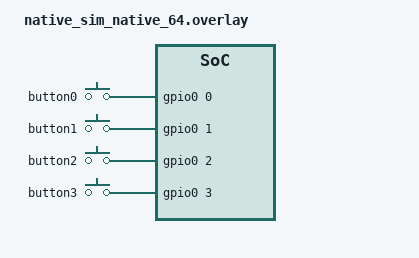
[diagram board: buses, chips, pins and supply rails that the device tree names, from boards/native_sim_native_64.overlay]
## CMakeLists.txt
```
#-------------------------------------------------------------------------------
# Zephyr Example Application
#
# Copyright (c) 2021 Nordic Semiconductor ASA
# SPDX-License-Identifier: Apache-2.0

cmake_minimum_required(VERSION 3.13.1)
find_package(Zephyr REQUIRED HINTS $ENV{ZEPHYR_BASE})

project(app LANGUAGES C)

zephyr_include_directories(src)

target_sources(app PRIVATE
  src/game_link.c
  src/main.c
  src/screens.c
  src/screens/color_dbg.c
  src/screens/touch_dbg.c)
```

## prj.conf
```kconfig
# Copyright (c) 2021 Nordic Semiconductor ASA
# SPDX-License-Identifier: Apache-2.0
#
# This file contains selected Kconfig options for the application.

CONFIG_GPIO=y
CONFIG_PWM=y
CONFIG_SMF=y

# Fancy logging.
CONFIG_CONSOLE=y
CONFIG_LOG=y
CONFIG_LOG_INFO_COLOR_GREEN=y
CONFIG_LOG_DBG_COLOR_BLUE=y
CONFIG_CBPRINTF_FP_SUPPORT=y
CONFIG_CPU_LOAD=y

# Screen things
CONFIG_DISPLAY=y
CONFIG_INPUT=y
CONFIG_LVGL=y
CONFIG_LV_Z_MEM_POOL_SIZE=32768
CONFIG_LV_Z_VDB_SIZE=10
CONFIG_LV_Z_DOUBLE_VDB=y
CONFIG_LV_Z_VDB_ALIGN=2
CONFIG_LV_BUILD_EXAMPLES=n
CONFIG_LV_BUILD_DEMOS=n
CONFIG_LV_COLOR_DEPTH_16=y
CONFIG_LV_COLOR_16_SWAP=y

# Bluetooth features
CONFIG_BT=y
CONFIG_BT_DEVICE_NAME="cave-gems-app"
# BT_APPEARANCE_PORTABLE_HANDHELD_CONSOLE
CONFIG_BT_DEVICE_APPEARANCE=2690
CONFIG_BT_CENTRAL=y
CONFIG_BT_PERIPHERAL=y
CONFIG_BT_MAX_CONN=8
CONFIG_BT_GATT_CLIENT=y
```

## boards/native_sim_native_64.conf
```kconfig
CONFIG_SDL_DISPLAY_ZOOM_PCT=200
CONFIG_DEBUG_OPTIMIZATIONS=y
CONFIG_SDL_DISPLAY_DEFAULT_PIXEL_FORMAT_RGB_565=y

# Not supported on the sim (not useful anyways)
CONFIG_CPU_LOAD=n

# Extra debug info on sim.
CONFIG_SYS_HEAP_RUNTIME_STATS=y

# Seems to be reuqired to make LVGL responsive on the sim (at least through wsl 2)
CONFIG_LV_DEF_REFR_PERIOD=16

# Using google's rootcanal to simulate BLE, which crashses and burns when host flow control is
# enabled.
CONFIG_BT_HCI_ACL_FLOW_CONTROL=n
```

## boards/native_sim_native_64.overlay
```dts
#include <zephyr/dt-bindings/gpio/gpio.h>
#include <zephyr/dt-bindings/input/input-event-codes.h>

&sdl_dc {
  height = <240>;
  width = <320>;
};

&gpio0 {
  ngpios = <4>;

  sdl_gpio {
    compatible = "zephyr,gpio-emul-sdl";
    // Number keys 1-4.
    scancodes = <30 31 32 33>;
  };
};

/ {
  buttons: buttons {
    compatible = "gpio-keys";

    button0: button0 {
      gpios = <&gpio0 0 GPIO_ACTIVE_HIGH>;
      zephyr,code = <INPUT_BTN_0>;
    };

    button1: button1 {
      gpios = <&gpio0 1 GPIO_ACTIVE_HIGH>;
      zephyr,code = <INPUT_BTN_1>;
    };

    button2: button2 {
      gpios = <&gpio0 2 GPIO_ACTIVE_HIGH>;
      zephyr,code = <INPUT_BTN_2>;
    };

    button3: button3 {
      gpios = <&gpio0 3 GPIO_ACTIVE_HIGH>;
      zephyr,code = <INPUT_BTN_3>;
    };
  };
};
```

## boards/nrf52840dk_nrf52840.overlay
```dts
#include <zephyr/dt-bindings/display/ili9xxx.h> // For pixel format.
#include <zephyr/dt-bindings/input/input-event-codes.h>

// For some reason upstream maps buttons to keys for input codes, but should
// really be buttons.


&adafruit_2_8_tft_touch_v2_ili9340 {
    /* TODO: Adjust width/height/rotation as needed. */
    pixel-format = <ILI9XXX_PIXEL_FORMAT_RGB565>;
};

&button0 {
    zephyr,code = <INPUT_BTN_0>;
};

&button1 {
    zephyr,code = <INPUT_BTN_1>;
};

&button2 {
    zephyr,code = <INPUT_BTN_2>;
};

&button3 {
    zephyr,code = <INPUT_BTN_3>;
};
```

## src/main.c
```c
/**
 * @file main.c
 */

#include <inttypes.h>

#include <lvgl.h>
#include <lvgl_mem.h>
#include <zephyr/debug/cpu_load.h>
#include <zephyr/device.h>
#include <zephyr/drivers/display.h>
#include <zephyr/kernel.h>
#include <zephyr/logging/log.h>
#include <zephyr/sys/printk.h>

#include "game_link.h"
#include "screens.h"

#define SLEEP_MS 1

#define DBG_HEAP_STATS 0

static const struct device *const disp = DEVICE_DT_GET(DISP_NODE);

LOG_MODULE_REGISTER(main);

static void link_cb(const link_evt_t *evt) {
  static int disc_ctr = 0;

  LOG_INF("link evt %d", evt->code);
  if (evt->code == LINK_EVT_DISCOVERY) {
    LOG_INF("Found room with %d players", evt->params.discovery.player_count);
    if (++disc_ctr == 20) {
      LOG_INF("Connecting...");
      game_link_join(evt->params.discovery.addr);
      disc_ctr = 0;
    }
  }
}

int main(void) {
  LOG_INF("Initializing");

  game_link_init(link_cb);
  player_name_t name = {
      .name = "JAMES",
  };
  game_link_set_name(&name);

  if (!device_is_ready(disp)) {
    LOG_ERR("Display was not ready");
    return -1;
  }

  init_screen_mgr(color_dbg_screen);

  if (0 != display_blanking_off(disp)) {
    LOG_ERR("Could not enable display");
  }

  LOG_INF("Init complete");

  size_t frame = 0;
  int64_t start_time = k_uptime_get();

  while (1) {
    update_screen_mgr();
    game_link_proc_evts();
    k_msleep(SLEEP_MS);

    frame += 1;
    int64_t now = k_uptime_get();
    if ((now - start_time) > 3000) {
      LOG_INF("Avg FPS: %0.1f", (double)(frame * 1000) / (now - start_time));
#if CONFIG_CPU_LOAD
      LOG_INF("Load: %.01f", cpu_load_get(true) / 10.0);
#endif

#if CONFIG_SYS_HEAP_RUNTIME_STATS
      // The LVGL integration doesn't fully fill out mem info when queried
      // through lv_mem_monitor :( gotta use zephyr-specific API instead.
      struct sys_memory_stats memstats;
      lvgl_heap_stats(&memstats);
      size_t total = memstats.allocated_bytes + memstats.free_bytes;
      size_t pct = (memstats.allocated_bytes * 100) / total;
      size_t max_pct = (memstats.max_allocated_bytes * 100) / total;

      LOG_INF("LVGL Heap: %zu/%zu used (%zu%%). Max %zu (%zu%%)",
              memstats.allocated_bytes, total, pct,
              memstats.max_allocated_bytes, max_pct);

#if DBG_HEAP_STATS
      lvgl_print_heap_info(false);
#endif
#endif

      start_time = now;
      frame = 0;
    }
  }
  return 0;
}
```

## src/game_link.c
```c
#include <stdlib.h>

#include <zephyr/bluetooth/bluetooth.h>
#include <zephyr/bluetooth/conn.h>
#include <zephyr/bluetooth/gatt.h>
#include <zephyr/bluetooth/uuid.h>
#include <zephyr/kernel.h>
#include <zephyr/logging/log.h>

#include "game_link.h"

LOG_MODULE_REGISTER(game_link, LOG_LEVEL_DBG);

#define HOST_IDX 0

//---- BLE ---- //

typedef enum {
  INT_EVT_SCAN_RES,
  INT_EVT_CONNECT,
  INT_EVT_DISCONNECT,
  INT_EVT_HANDLE_DISC,
  INT_EVT_MSG,
  INT_EVT_FATAL_ERR,
} internal_evt_e;

typedef struct {
  player_name_t host_name;
  uint8_t players;
} adv_service_data_t;

typedef struct {
  void *fifo_reserved;
  internal_evt_e code;
  union {
    struct {
      bt_addr_le_t addr;
      adv_service_data_t serv_data;
    } scan_res;

    struct {
      struct bt_conn *conn;
      uint8_t err;
    } connect;

    struct {
      struct bt_conn *conn;
      uint8_t reason;
    } disconnect;

    struct {
      struct bt_conn *conn;
      uint16_t handle;
    } handle_disc;

    struct {
      struct bt_conn *src;
      size_t len;
      uint8_t msg[MSG_MAX_LEN];
    } msg;

    struct {
      struct bt_conn *conn;
    } fatal_err;
  } params;
} internal_evt_t;

static bool process_advertising_field(struct bt_data *data, void *user_data);
static uint8_t service_discovery_cb(struct bt_conn *conn,
                                    const struct bt_gatt_attr *attr,
                                    struct bt_gatt_discover_params *params);

static void on_scan_result(const bt_addr_le_t *addr, int8_t rssi,
                           uint8_t adv_type, struct net_buf_simple *buf);
static void on_connected(struct bt_conn *conn, uint8_t err);
static void on_disconnected(struct bt_conn *conn, uint8_t reason);
static ssize_t on_msg_received(struct bt_conn *conn,
                               const struct bt_gatt_attr *attr, const void *buf,
                               uint16_t len, uint16_t offset, uint8_t flags);

static void send_msg(size_t idx, const void *data, size_t len);
static void send_client_hello(void);

BT_CONN_CB_DEFINE(conn_cb) = {
    .connected = on_connected,
    .disconnected = on_disconnected,
};

// Follow the example fo the BT sig, use a 96 bit base UUID and derive our UUIDs
// from that.
#define GL_UUID_VAL(val)                                                       \
  BT_UUID_128_ENCODE(0x00000000, 0x4873, 0x4a13, 0xb51b, 0x94b8fcc1d08d)

#define ADV_UUID_VAL GL_UUID_VAL(0)
static const struct bt_uuid_128 adv_uuid = BT_UUID_INIT_128(ADV_UUID_VAL);

static const struct bt_uuid_128 serv_uuid = BT_UUID_INIT_128(GL_UUID_VAL(1));
static const struct bt_uuid_128 msg_recv_uuid =
    BT_UUID_INIT_128(GL_UUID_VAL(2));

BT_GATT_SERVICE_DEFINE(
    game_link_service, BT_GATT_PRIMARY_SERVICE(&serv_uuid.uuid),
    BT_GATT_CHARACTERISTIC(&msg_recv_uuid.uuid, BT_GATT_CHRC_WRITE_WITHOUT_RESP,
                           BT_GATT_PERM_WRITE, NULL, on_msg_received, NULL));

static struct {
  struct bt_conn *conn;
  uint16_t handle;
} conns[CONFIG_BT_MAX_CONN];

//---- Messages ---- //

typedef enum {
  // Client -> Host on connection.
  MSG_CLIENT_HELLO,
  // Host -> Client after hello.
  MSG_SERVER_HELLO,
  // Host -> All clients after join. New players also get one for every existing
  // player.
  MSG_PLAYER_ANOUNCE,
  // Host -> All clients after disconnect.
  MSG_PLAYER_GONE,
  // Client -> Host -> All Clients. All messages are always broadcast to
  // everyone.
  MSG_GAME_MSG,
} msg_id_e;

typedef struct {
  uint8_t id;
  player_name_t name;
} client_hello_msg_t;

typedef struct {
  uint8_t id;
  uint8_t assigned_slot;
} server_hello_msg_t;

typedef struct {
  uint8_t id;
  uint8_t slot;
  player_name_t name;
} player_announce_msg_t;

typedef struct {
  uint8_t id;
  uint8_t slot;
} player_gone_msg_t;

typedef struct {
  uint8_t id;
  uint8_t reserved; // May be used in the future to send to specific players.
                    // Set to 0xFF.
  uint8_t data[MSG_MAX_LEN];
} game_msg_t;

//---- State Machine ---- //

typedef enum {
  LINK_OFF,
  LINK_SEARCHING,
  LINK_LOBBY,
  LINK_GAME,
} link_state_e;

typedef struct {
  void *fifo_reserved;
  link_evt_e evt;
} evt_q_item_t;

static void send_fatal_err(struct bt_conn *conn);
static void setup_msg_handle(size_t conn_idx);
static void assign_conn(struct bt_conn *conn);
static void kill_conn(struct bt_conn *conn);
static void disconnect(size_t conn_idx);
static bool handle_msg(size_t src, const void *msg, size_t len);

static game_link_cb link_cb;
static player_name_t player_name;

static bool is_host;
static link_state_e link_state;

static K_FIFO_DEFINE(internal_evts);

void game_link_init(game_link_cb cb) {
  link_cb = cb;

  if (0 != bt_enable(NULL)) {
    LOG_ERR("Could not initialize BT");
    return;
  }

  LOG_INF("BT ready");
}

void game_link_proc_evts(void) {
  internal_evt_t *evt;

  while (true) {
    evt = k_fifo_get(&internal_evts, K_NO_WAIT);
    if (evt == NULL) {
      break;
    }

    LOG_DBG("Internal evt %d", evt->code);

    switch (evt->code) {
    case INT_EVT_SCAN_RES: {
      link_evt_t out_evt = {
          .code = LINK_EVT_DISCOVERY,
          .params.discovery =
              {
                  .addr = evt->params.scan_res.addr,
                  .host_name = evt->params.scan_res.serv_data.host_name,
                  .player_count = evt->params.scan_res.serv_data.players,
              },
      };

      if (link_cb) {
        link_cb(&out_evt);
      }
    } break;

    case INT_EVT_CONNECT: {
      if (evt->params.connect.err) {
        LOG_ERR("Failed to connect: %u", evt->params.connect.err);
        kill_conn(evt->params.connect.conn);
      } else {
        if (is_host) {
          LOG_DBG("New connection");
          assign_conn(evt->params.connect.conn);
          // TODO: Restart advertising. Handle link state below as well?
        } else if (evt->params.connect.conn == conns[0].conn) {
          LOG_DBG("Connection complete");
          setup_msg_handle(0);
        }
      }

      bt_conn_unref(evt->params.connect.conn);
    } break;

    case INT_EVT_DISCONNECT: {
      LOG_DBG("Disconnect, reason=%u", evt->params.disconnect.reason);
      kill_conn(evt->params.connect.conn);
      bt_conn_unref(evt->params.disconnect.conn);
    } break;

    case INT_EVT_HANDLE_DISC: {
      bool found = false;

      for (size_t i = 0; i < ARRAY_SIZE(conns); i++) {
        if (conns[i].conn == evt->params.handle_disc.conn) {
          conns[i].handle = evt->params.handle_disc.handle;
          LOG_DBG("Found message handle for conn %zu: %u", i, conns[i].handle);

          if (!is_host) {
            send_client_hello();
          }

          found = true;
          break;
        }
      }

      if (!found) {
        LOG_WRN("Ignoring handle discovery");
      }

      bt_conn_unref(evt->params.handle_disc.conn);
    } break;

    case INT_EVT_MSG: {
      bool handled = true;

      for (size_t idx = 0; idx < ARRAY_SIZE(conns); idx++) {
        if (evt->params.msg.src == conns[idx].conn) {
          if (!handle_msg(idx, evt->params.msg.msg, evt->params.msg.len)) {
            LOG_ERR("Message handler err, disconnecting");
            disconnect(idx);
          }

          handled = true;
          break;
        }
      }

      if (!handled) {
        LOG_WRN("Message from untracked connection");
      }

      bt_conn_unref(evt->params.msg.src);
    } break;

    case INT_EVT_FATAL_ERR: {
      LOG_ERR("Fatal err, killing connection");
      kill_conn(evt->params.fatal_err.conn);
      bt_conn_unref(evt->params.fatal_err.conn);
    }
    }

    free(evt);
  }
}

void game_link_set_name(const player_name_t *name) {
  if (link_state == LINK_OFF) {
    LOG_DBG("Player name update");
    player_name = *name;
  }
}

void game_link_discover(void) {
  game_link_stop();

  static const struct bt_le_scan_param params = {
      .type = BT_LE_SCAN_TYPE_ACTIVE,
      .interval = BT_GAP_SCAN_FAST_INTERVAL_MIN,
      .window = BT_GAP_SCAN_FAST_WINDOW,
      .options = BT_LE_SCAN_OPT_NONE,
  };

  if (0 != bt_le_scan_start(&params, on_scan_result)) {
    LOG_ERR("Failed to start scan");
    return;
  }

  LOG_INF("Link discovery active");
  is_host = false;
  link_state = LINK_SEARCHING;
}

void game_link_host(void) {
  game_link_stop();

  struct bt_data adv_data[] = {
      BT_DATA(BT_DATA_NAME_COMPLETE, CONFIG_BT_DEVICE_NAME,
              sizeof(CONFIG_BT_DEVICE_NAME) - 1),
  };

  // The bumble simulator doesn't properly handle scan response data, so put the
  // parsed data in the primary adv response.
  struct {
    uint8_t uuid[128 / 8];
    adv_service_data_t serv_data;
  } serv_data = {
      .uuid = {ADV_UUID_VAL},
      .serv_data =
          {
              .host_name = player_name,
              .players = 1,
          },
  };

  struct bt_data scan_data[] = {{
      .type = BT_DATA_SVC_DATA128,
      .data = (uint8_t *)&serv_data,
      .data_len = sizeof(serv_data),
  }};

  static const struct bt_le_adv_param params = {
      .options = BT_LE_ADV_OPT_CONN | BT_LE_ADV_OPT_USE_IDENTITY |
                 BT_LE_ADV_OPT_SCANNABLE,
      .interval_min = BT_GAP_ADV_FAST_INT_MIN_2,
      .interval_max = BT_GAP_ADV_FAST_INT_MAX_2};

  if (0 != bt_le_adv_start(&params, adv_data, ARRAY_SIZE(adv_data), scan_data,
                           ARRAY_SIZE(scan_data))) {
    LOG_ERR("Failed to start advertising");
    return;
  }

  LOG_INF("Hosting lobby");
  is_host = true;
  link_state = LINK_LOBBY;
}

void game_link_join(bt_addr_le_t tgt) {
  game_link_stop();

  static const struct bt_conn_le_create_param create_params = {
      .interval = BT_GAP_SCAN_FAST_INTERVAL_MIN,
      .window = BT_GAP_SCAN_FAST_WINDOW,
  };
  static const struct bt_le_conn_param conn_params = {
      .interval_min = BT_GAP_MS_TO_CONN_INTERVAL(100),
      .interval_max = BT_GAP_MS_TO_CONN_INTERVAL(100),
      .latency = 0,
      .timeout = BT_GAP_MS_TO_CONN_TIMEOUT(20000),
  };

  int err =
      bt_conn_le_create(&tgt, &create_params, &conn_params, &conns[0].conn);
  if (err) {
    LOG_ERR("Failed to create connection: %d", err);
    return;
  }

  is_host = false;
  link_state = LINK_LOBBY;
}

void game_link_stop(void) {
  LOG_INF("Stopping existing links");

  switch (link_state) {
  case LINK_SEARCHING:
    bt_le_scan_stop();
    break;

  case LINK_LOBBY:
  case LINK_GAME:
    bt_le_adv_stop();

    for (size_t i = 0; i < ARRAY_SIZE(conns); i++) {
      disconnect(i);
    }
    break;

  case LINK_OFF:
    break;
  }

  link_state = LINK_OFF;
}

void game_link_bcast_msg(const uint8_t *data, size_t len) {
  // TODO
}

void game_link_start_game(void) {
  // TODO
}

static bool process_advertising_field(struct bt_data *data, void *user_data) {
  LOG_DBG("Fty: %u", data->type);
  if (data->type != BT_DATA_SVC_DATA128) {
    return true;
  }

  if (data->data_len < (128 / 8) + sizeof(adv_service_data_t)) {
    LOG_WRN("Invalid service data len");
    return false;
  }

  if (0 != memcmp(data->data, adv_uuid.val, sizeof(adv_uuid.val))) {
    LOG_DBG("Other service");
    return true;
  }

  LOG_DBG("Has room data");

  internal_evt_t *evt = malloc(sizeof(*evt));
  evt->code = INT_EVT_SCAN_RES;
  evt->params.scan_res.addr = *(const bt_addr_le_t *)user_data;
  memcpy(&evt->params.scan_res.serv_data, data->data + sizeof(adv_uuid.val),
         sizeof(adv_service_data_t));

  LOG_DBG("Dispatch scan res");
  k_fifo_put(&internal_evts, evt);
  return false;
}

static uint8_t service_discovery_cb(struct bt_conn *conn,
                                    const struct bt_gatt_attr *attr,
                                    struct bt_gatt_discover_params *params) {
  if (attr == NULL) {
    LOG_ERR("Discovery failed");
    send_fatal_err(conn);
  } else if (params->type == BT_GATT_DISCOVER_PRIMARY) {
    LOG_DBG("Service discovered");
    struct bt_gatt_service_val *val = attr->user_data;
    params->end_handle = val->end_handle;

    params->uuid = &msg_recv_uuid.uuid;
    params->type = BT_GATT_DISCOVER_CHARACTERISTIC;

    int err = bt_gatt_discover(conn, params);

    if (err) {
      LOG_ERR("Failed to start characteristic discovery: %d", err);
      send_fatal_err(conn);
    } else {
      // Don't free the re-used params.
      params = NULL;
    }
  } else if (params->type == BT_GATT_DISCOVER_CHARACTERISTIC) {
    LOG_DBG("Characteristic discovered");
    struct bt_gatt_chrc *val = attr->user_data;

    internal_evt_t *evt = malloc(sizeof(*evt));
    evt->code = INT_EVT_HANDLE_DISC;
    evt->params.handle_disc.conn = bt_conn_ref(conn);
    evt->params.handle_disc.handle = val->value_handle;
    k_fifo_put(&internal_evts, evt);
  }

  free(params);
  return BT_GATT_ITER_STOP;
}

static void on_scan_result(const bt_addr_le_t *addr, int8_t rssi,
                           uint8_t adv_type, struct net_buf_simple *buf) {
  LOG_DBG("Adv report");

  bt_data_parse(buf, process_advertising_field, (void *)addr);
}

static void on_connected(struct bt_conn *conn, uint8_t err) {
  internal_evt_t *evt = malloc(sizeof(*evt));
  evt->code = INT_EVT_CONNECT;
  evt->params.connect.conn = bt_conn_ref(conn);
  evt->params.connect.err = err;
  k_fifo_put(&internal_evts, evt);
}

static void on_disconnected(struct bt_conn *conn, uint8_t reason) {
  internal_evt_t *evt = malloc(sizeof(*evt));
  evt->code = INT_EVT_DISCONNECT;
  evt->params.disconnect.conn = bt_conn_ref(conn);
  evt->params.disconnect.reason = reason;
  k_fifo_put(&internal_evts, evt);
}

static ssize_t on_msg_received(struct bt_conn *conn,
                               const struct bt_gatt_attr *attr, const void *buf,
                               uint16_t len, uint16_t offset, uint8_t flags) {
  LOG_DBG("Got message");

  if (offset != 0 || len == 0) {
    return BT_GATT_ERR(BT_ATT_ERR_NOT_SUPPORTED);
  }

  if (len > MSG_MAX_LEN) {
    return BT_GATT_ERR(BT_ATT_ERR_OUT_OF_RANGE);
  }

  internal_evt_t *evt = malloc(sizeof(*evt));
  evt->code = INT_EVT_MSG;
  evt->params.msg.src = bt_conn_ref(conn);
  evt->params.msg.len = len;
  memcpy(evt->params.msg.msg, buf, len);

  k_fifo_put(&internal_evts, evt);

  return len;
}

static void send_msg(size_t idx, const void *msg, size_t msg_len) {
  if (conns[idx].conn == NULL || conns[idx].handle == 0) {
    LOG_WRN("Message dropped due to missing connection");
    return;
  }

  LOG_DBG("Queue msg %u for %zu", *(const uint8_t *)msg, idx);

  // TODO: Use local message queueing. Or just make sure there's enough buffers.
  int err = bt_gatt_write_without_response(conns[idx].conn, conns[idx].handle,
                                           msg, msg_len, false);
  if (err) {
    LOG_ERR("Failed to send message to slot %zu, err=%d", idx, err);
    disconnect(idx);
  }
}

static void send_client_hello(void) {
  client_hello_msg_t msg = {
      .id = MSG_CLIENT_HELLO,
      .name = player_name,
  };

  LOG_DBG("Saying hello");
  send_msg(HOST_IDX, &msg, sizeof(msg));
}

static void send_fatal_err(struct bt_conn *conn) {
  internal_evt_t *evt = malloc(sizeof(*evt));
  evt->code = INT_EVT_FATAL_ERR;
  evt->params.fatal_err.conn = bt_conn_ref(conn);
  k_fifo_put(&internal_evts, evt);
}

static void setup_msg_handle(size_t conn_idx) {
  if (conns[conn_idx].handle != 0) {
    LOG_ERR("Discovery already completed!");
    return;
  }

  LOG_DBG("Starting handle discovery for %zu", conn_idx);

  struct bt_gatt_discover_params *params = calloc(1, sizeof(*params));
  params->uuid = &serv_uuid.uuid;
  params->func = service_discovery_cb;
  params->start_handle = BT_ATT_FIRST_ATTRIBUTE_HANDLE;
  params->end_handle = BT_ATT_LAST_ATTRIBUTE_HANDLE;
  params->type = BT_GATT_DISCOVER_PRIMARY;

  int err = bt_gatt_discover(conns[conn_idx].conn, params);

  if (err) {
    LOG_ERR("Failed to start service discovery: %d", err);
    free(params);
    disconnect(conn_idx);
  }
}

static void assign_conn(struct bt_conn *conn) {
  for (size_t i = 1; i < ARRAY_SIZE(conns); i++) {
    if (conns[i].conn == NULL) {
      LOG_DBG("Assigning new connection to slot %zu", i);

      conns[i].conn = bt_conn_ref(conn);
      setup_msg_handle(i);

      return;
    }
  }
}

static void kill_conn(struct bt_conn *conn) {
  for (size_t i = 0; i < ARRAY_SIZE(conns); i++) {
    if (conns[i].conn == conn) {
      disconnect(i);
      return;
    }
  }
}

static void disconnect(size_t conn_idx) {
  if (conns[conn_idx].conn == NULL) {
    return;
  }

  LOG_DBG("Disconnecting %zu", conn_idx);

  bt_conn_disconnect(conns[conn_idx].conn, BT_HCI_ERR_REMOTE_USER_TERM_CONN);
  bt_conn_unref(conns[conn_idx].conn);
  memset(&conns[conn_idx], 0, sizeof(conns[conn_idx]));
}

static bool handle_msg(size_t src, const void *msg, size_t len) {
  uint8_t id = *(const uint8_t *)msg;

  LOG_DBG("Process msg %d from %zu", id, src);

  switch (id) {
  case MSG_CLIENT_HELLO: {
    if (!is_host) {
      LOG_ERR("Got hello as client");
      return false;
    }

    if (len < sizeof(client_hello_msg_t)) {
      LOG_ERR("Truncated hello");
      return false;
    }

    const client_hello_msg_t *hello = msg;

    // TODO: Announce
    char name[NAME_MAX_LEN + 1];
    memcpy(name, &hello->name, sizeof(hello->name));
    name[NAME_MAX_LEN] = 0;
    LOG_INF("Hello from %s", name);
    return true;
  }

  default:
    LOG_WRN("Unhandled msg %d", id);
    return false;
  }

  return false;
}
```

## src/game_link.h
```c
#ifndef GAME_LINK_H
#define GAME_LINK_H

#include <zephyr/bluetooth/bluetooth.h>
#include <zephyr/net_buf.h>

#define NAME_MAX_LEN 10
#define MSG_MAX_LEN 18

typedef struct {
  char name[NAME_MAX_LEN];
} player_name_t;

typedef enum {
  LINK_EVT_DISCOVERY,
  LINK_EVT_JOIN,
  LINK_EVT_JOIN_ERR,
  LINK_EVT_PEER_JOIN,
  LINK_EVT_DISCONNECT,
  LINK_EVT_MSG,
  LINK_EVT_GAME_START,
} link_evt_e;

typedef struct {
  link_evt_e code;

  union {
    struct {
      bt_addr_le_t addr;
      player_name_t host_name;
      uint8_t player_count;
    } discovery;

    struct {
      uint8_t player_id;
    } join;

    struct {
      uint8_t player_id;
      player_name_t player_name;
    } peer_join;

    struct {
      uint8_t player_id;
    } disconnect;

    struct {
      uint8_t from_player_id;
      // Not nescessarily efficient, but simple.
      // No worries about lifetime of the data.
      uint8_t msg[MSG_MAX_LEN];
      size_t len;
    } msg;
  } params;
} link_evt_t;

typedef void (*game_link_cb)(const link_evt_t *evt);

void game_link_init(game_link_cb cb);
void game_link_proc_evts(void);

void game_link_set_name(const player_name_t *name);

void game_link_discover(void);
void game_link_host(void);
void game_link_join(bt_addr_le_t tgt);
void game_link_stop(void);

void game_link_bcast_msg(const uint8_t *data, size_t len);
void game_link_start_game(void);

#endif
```

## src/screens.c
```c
#include <lvgl.h>
#include <zephyr/input/input.h>
#include <zephyr/kernel.h>
#include <zephyr/logging/log.h>

#include "screens.h"

#define NUM_BUTTONS 4
#define LONG_PRESS_MS 1000

typedef struct {
  bool activated;
  screen_fn cb;

  struct {
    bool is_down;
    bool evt_pending;
    int64_t pressed_time;
  } buttons[NUM_BUTTONS];
} screen_info_t;

LOG_MODULE_REGISTER(screens);

static K_MUTEX_DEFINE(button_lock);
static bool button_states[NUM_BUTTONS];
static bool button_changed[NUM_BUTTONS];

static void on_button_evt(struct input_event* evt, void* user_data) {
  if (evt->type != INPUT_EV_KEY) {
    return;
  }

  if (evt->code < INPUT_BTN_0 || evt->code > INPUT_BTN_3) {
    return;
  }

  k_mutex_lock(&button_lock, K_FOREVER);
  size_t idx = evt->code - INPUT_BTN_0;
  button_states[idx] = !!evt->value;
  button_changed[idx] = true;
  k_mutex_unlock(&button_lock);
}
INPUT_CALLBACK_DEFINE(NULL, on_button_evt, NULL);

static void sync_buttons(lv_obj_t* screen, screen_info_t* info) {
  bool lcl_button_changed[NUM_BUTTONS];
  int64_t now = k_uptime_get();

  // Atomically snapshot the state. Ensures consistency while we send events
  // without requiring the lock to be held for a long time.
  k_mutex_lock(&button_lock, K_FOREVER);
  for (size_t i = 0; i < NUM_BUTTONS; i++) {
    // Handle cases where the button changed multiple times between syncs.
    // This will ensure that we act as if something happened, though multiple
    // presses in a short period may still be miss counted.

    lcl_button_changed[i] = button_changed[i] || button_states[i] != info->buttons[i].is_down;
    button_changed[i] = false;
  }
  k_mutex_unlock(&button_lock);

  for (size_t i = 0; i < NUM_BUTTONS; i++) {
    // First apply state changes.
    if (lcl_button_changed[i]) {
      LOG_DBG("Button %zu change", i);

      info->buttons[i].is_down = !info->buttons[i].is_down;
      if (info->buttons[i].is_down) {
        info->buttons[i].evt_pending = true;
        info->buttons[i].pressed_time = now;
      }
    }

    // Now generate events if applicable.
    if (!info->buttons[i].evt_pending || !info->activated) continue;

    screen_evt_t evt = {
      .screen = screen,
      .params.button_code = INPUT_BTN_0 + i,
    };

    if (now - info->buttons[i].pressed_time >= LONG_PRESS_MS) {
      LOG_DBG("Button %zu long press", i);
      evt.code = SCREEN_EVT_BTN_LONG_PRESS;
    }
    else if (!info->buttons[i].is_down) {
      LOG_DBG("Button %zu press", i);
      evt.code = SCREEN_EVT_BTN_PRESS;
    }
    else {
      continue;
    }

    info->buttons[i].evt_pending = false;
    info->cb(evt);
  }
}

static void on_screen_evt(lv_event_t* lv_evt) {
  lv_obj_t* screen = lv_event_get_current_target_obj(lv_evt);
  screen_info_t* info = lv_obj_get_user_data(screen);
  screen_evt_t evt = {
    .screen = screen,
  };

  switch (lv_event_get_code(lv_evt)) {
  case LV_EVENT_SCREEN_LOAD_START:
    evt.code = SCREEN_EVT_INIT;
    break;

  case LV_EVENT_SCREEN_LOADED:
    evt.code = SCREEN_EVT_ACTIVATE;
    info->activated = true;
    break;

  case LV_EVENT_SCREEN_UNLOAD_START:
    evt.code = SCREEN_EVT_DEACTIVATE;
    info->activated = false;
    break;

  case LV_EVENT_SCREEN_UNLOADED:
    evt.code = SCREEN_EVT_DESTROY;
    break;

  default:
    break;
  }

  if (evt.code != SCREEN_EVT_NONE) {
    LOG_DBG("Screen evt %d for %p", evt.code, screen);
    info->cb(evt);
  }

  if (evt.code == SCREEN_EVT_DESTROY) {
    lv_free(info);
  }
}

void init_screen_mgr(screen_fn init_cb) {
  change_to_screen(init_cb, LV_SCR_LOAD_ANIM_NONE, 0);
}

void update_screen_mgr(void) {
  lv_obj_t* cur = lv_screen_active();
  screen_info_t* info = lv_obj_get_user_data(cur);

  if (info && info->activated) {
    sync_buttons(cur, info);

    screen_evt_t evt = {
      .code = SCREEN_EVT_UPDATE,
      .screen = cur,
    };
    info->cb(evt);
  }

  lv_timer_handler();
}

void change_to_screen(screen_fn cb, lv_screen_load_anim_t anim, uint32_t anim_time) {
  lv_obj_t* screen = lv_obj_create(NULL);

  LOG_INF("Change to screen %p", screen);

  // Use the object user data rather than the event handler, as we need to
  // access outside the context of an event as well (eg. during the core update loop).
  screen_info_t* info = lv_malloc_zeroed(sizeof(*info));
  info->cb = cb;
  lv_obj_set_user_data(screen, info);

  lv_obj_add_event_cb(screen, on_screen_evt, LV_EVENT_ALL, NULL);
  lv_scr_load_anim(screen, anim, anim_time, 0, true);
}
```

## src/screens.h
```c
#ifndef DEBUG_SCREENS_H
#define DEBUG_SCREENS_H

#include <lvgl.h>
#include <zephyr/devicetree.h>
#include <zephyr/input/input.h>

#define DISP_NODE DT_CHOSEN(zephyr_display)
#define WIDTH DT_PROP(DISP_NODE, width)
#define HEIGHT DT_PROP(DISP_NODE, height)

typedef enum {
  SCREEN_EVT_NONE,

  // Lifetime events

  /// Prepare initial screen items, screen transition is about to be animated.
  SCREEN_EVT_INIT,
  /// Screen transition is complete, input and update events will now be enabled.
  SCREEN_EVT_ACTIVATE,
  /// Once per frame chance to run logic.
  SCREEN_EVT_UPDATE,
  /// Screen is about to transition, no more input/update events will be received
  SCREEN_EVT_DEACTIVATE,
  /// Screen is no longer visible. Release all resources
  /// (the widget tree will be freed by the screen manager).
  SCREEN_EVT_DESTROY,

  // Button events, button_code indicates the relevant button.
  // Simulated button events will be generated as appropriate during screen transitions.
  SCREEN_EVT_BTN_PRESS,
  SCREEN_EVT_BTN_LONG_PRESS,
} screen_evt_e;

typedef struct {
  /// Top of the widget tree.
  /// @note The user data of the screen node is reserved for use by the screen manager.
  lv_obj_t* screen;

  /// Event that occurred
  screen_evt_e code;

  /// Parameters associated with the event.
  union {
    uint16_t button_code;
  } params;
} screen_evt_t;

typedef void (*screen_fn)(screen_evt_t evt);

void init_screen_mgr(screen_fn init_cb);
void update_screen_mgr(void);
void change_to_screen(screen_fn cb, lv_screen_load_anim_t anim, uint32_t anim_time);

// Screen implementations
void color_dbg_screen(screen_evt_t evt);
void touch_dbg_screen(screen_evt_t evt);

#endif
```
